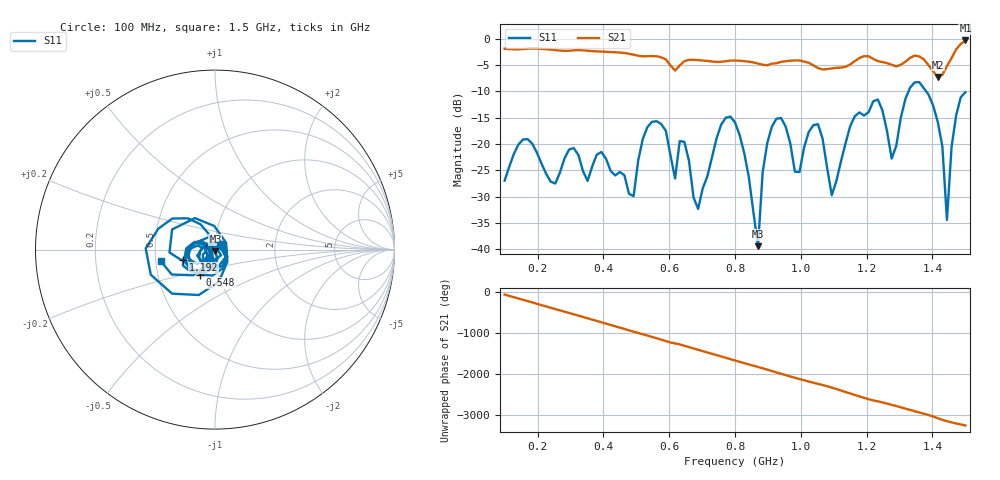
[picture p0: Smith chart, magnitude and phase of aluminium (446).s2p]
! NanoVNA-App
! Date: 2025-09-25 14:58:45
! Start: 100MHz Stop: 1,5GHz Points: 101
! S-Parameter data: F S11 S21 S12 S22
# Hz S RI R 50
!  Frequency  S11_Real  S11_Imag  S21_Real  S21_Imag  S12_Real  S12_Imag  S22_Real  S22_Imag
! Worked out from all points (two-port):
!   101 points, 100 MHz to 1.5 GHz, reference 50 ohm
!   highest |S21| = -0.35 dB at 1.5 GHz (marker M1); lowest = -7.3 dB at 1.416 GHz (marker M2)
!   |S21| within 3 dB of the highest: start of sweep to 518 MHz; 1.461 GHz to end of sweep (the widest 2 of 5)
!   lowest |S11| = -39.4 dB at 870 MHz (marker M3), VSWR 1.02, Z = 50.2 - j1.05 ohm
!   |S11| at or under -10 dB: start of sweep to 1.327 GHz; 1.381 GHz to end of sweep
!   S12 and S22 are empty: the file has one direction only
!   S11 on the Smith chart (normalised r, x): 100 MHz: 1.07, +0.06; 548 MHz: 0.82, -0.24; 1.192 GHz: 0.69, -0.08; 1.5 GHz: 0.53, -0.07
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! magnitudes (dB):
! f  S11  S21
! 100 MHz  -27.0  -1.9
! 156 MHz  -19.1  -2.0
! 338 MHz  -25.1  -2.2
! 492 MHz  -29.9  -3.1
! 548 MHz  -15.8  -3.3
! 576 MHz  -16.2  -3.6
! 646 MHz  -19.6  -4.3
! 688 MHz  -32.3  -4.1
! 800 MHz  -15.9  -4.2
! 870 MHz  -39.4  -4.7
! 912 MHz  -16.7  -4.8
! 996 MHz  -25.3  -4.1
! 1.038 GHz  -16.4  -5.1
! 1.094 GHz  -29.7  -5.7
! 1.192 GHz  -14.6  -3.3
! 1.234 GHz  -11.6  -4.3
! 1.276 GHz  -22.8  -5.0
! 1.346 GHz  -8.3  -3.2
! 1.416 GHz  -15.8  -7.3
! 1.444 GHz  -34.4  -5.2
! 1.458 GHz  -20.5  -3.7
! 1.5 GHz  -10.2  -0.3
